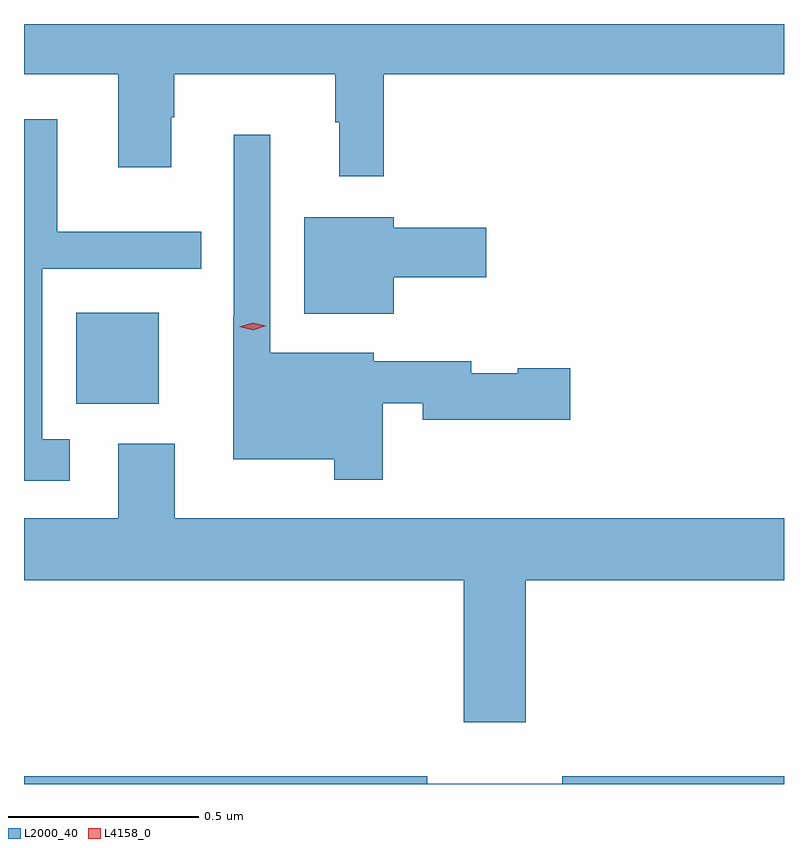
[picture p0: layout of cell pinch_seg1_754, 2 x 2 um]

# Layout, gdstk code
import gdstk
lib = gdstk.Library(unit=1e-6, precision=1e-09)
def R(c, l, rs):  # rectangles x0, y0, x1, y1
    for r in rs: c.add(gdstk.rectangle(r[:2], r[2:], *l))
def P(c, l, *ps):  # polygons
    for p in ps: c.add(gdstk.Polygon(p, *l))
L2000_40 = (2000, 40)
L4158_0 = (4158, 0)

pinch_seg1_754 = lib.new_cell('pinch_seg1_754')
R(pinch_seg1_754, L2000_40, [(871.28,517.565,871.498,517.804)])
P(pinch_seg1_754, L2000_40, [(872.09,518.432),(873.143,518.432),(873.143,518.564),(871.143,518.564),(871.143,518.432),(871.391,518.432),(871.391,518.187),(871.531,518.187),(871.531,518.318),(871.539,518.318),(871.539,518.432),(871.962,518.432),(871.962,518.306),(871.973,518.306),(871.973,518.163),(872.09,518.163)],
  [(871.264,517.471),(871.191,517.471),(871.191,517.92),(871.61,517.92),(871.61,518.017),(871.231,518.017),(871.231,518.314),(871.143,518.314),(871.143,517.362),(871.264,517.362)],
  [(872.087,517.566),(872.192,517.566),(872.192,517.523),(872.581,517.523),(872.581,517.658),(872.442,517.658),(872.442,517.645),(872.32,517.645),(872.32,517.677),(872.064,517.677),(872.064,517.699),(871.791,517.699),(871.791,518.272),(871.695,518.272),(871.695,517.795),(871.694,517.795),(871.694,517.418),(871.959,517.418),(871.959,517.365),(872.087,517.365)],
  [(872.116,517.898),(872.359,517.898),(872.359,518.028),(872.116,518.028),(872.116,518.056),(871.88,518.056),(871.88,517.802),(872.116,517.802)],
  [(872.464,517.1),(873.143,517.1),(873.143,517.264),(871.54,517.264),(871.54,517.459),(871.391,517.459),(871.391,517.264),(871.143,517.264),(871.143,517.1),(872.3,517.1),(872.3,516.726),(872.464,516.726)],
  [(873.143,516.584),(872.56,516.584),(872.56,516.565),(872.204,516.565),(872.204,516.584),(871.143,516.584),(871.143,516.564),(873.143,516.564)])
P(pinch_seg1_754, L4158_0, [(871.746,517.758),(871.71,517.767),(871.71,517.767),(871.71,517.767),(871.745,517.778),(871.781,517.77),(871.781,517.77),(871.781,517.77)])

lib.write_gds('pinch_seg1_754.gds')
